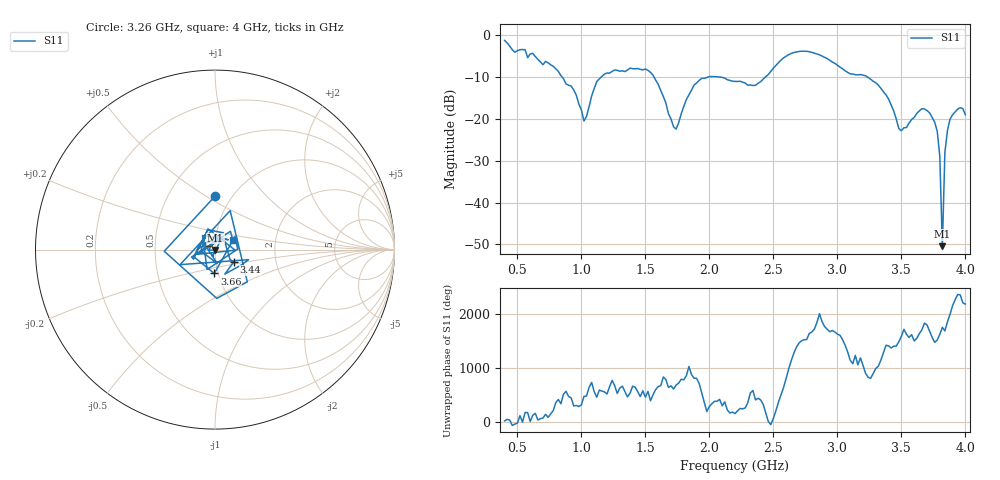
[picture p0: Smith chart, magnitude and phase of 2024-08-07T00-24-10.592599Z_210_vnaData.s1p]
!Created with skrf (http://scikit-rf.org).
# Hz S RI R 50.0
!freq ReS11 ImS11
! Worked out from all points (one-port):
!   181 points, 400 MHz to 4 GHz, reference 50 ohm
!   lowest |S11| = -50.4 dB at 3.82 GHz (marker M1), VSWR 1.01, Z = 50.2 - j0.214 ohm
!   |S11| at or under -10 dB: 1.568 GHz to 1.986 GHz (417.3 MHz wide, 23.5 % of centre); 2.093 GHz to 2.435 GHz (341.9 MHz wide, 15.1 % of centre); 3.239 GHz to end of sweep (the widest 3 of 4)
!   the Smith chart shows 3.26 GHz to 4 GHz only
!   S11 on the Smith chart (normalised r, x): 3.26 GHz: 0.84, +0.55; 3.44 GHz: 1.22, -0.17; 3.66 GHz: 0.96, -0.26; 4 GHz: 1.22, +0.13
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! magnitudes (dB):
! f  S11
! 400 MHz  -1.2
! 860 MHz  -10.3
! 960 MHz  -14.3
! 1.02 GHz  -20.5
! 1.12 GHz  -11.0
! 1.3 GHz  -8.6
! 1.54 GHz  -8.8
! 1.72 GHz  -21.9
! 1.76 GHz  -20.9
! 1.82 GHz  -15.3
! 1.94 GHz  -10.3
! 2.2 GHz  -11.0
! 2.36 GHz  -11.9
! 2.66 GHz  -4.1
! 2.86 GHz  -4.6
! 3.1 GHz  -9.2
! 3.26 GHz  -10.5
! 3.44 GHz  -18.1
! 3.5 GHz  -22.8
! 3.56 GHz  -20.9
! 3.66 GHz  -17.5
! 3.78 GHz  -22.9
! 3.8 GHz  -28.9
! 3.82 GHz  -50.4
! 3.84 GHz  -27.9
! 3.86 GHz  -22.7
! 3.94 GHz  -17.6
! 4 GHz  -19.0
